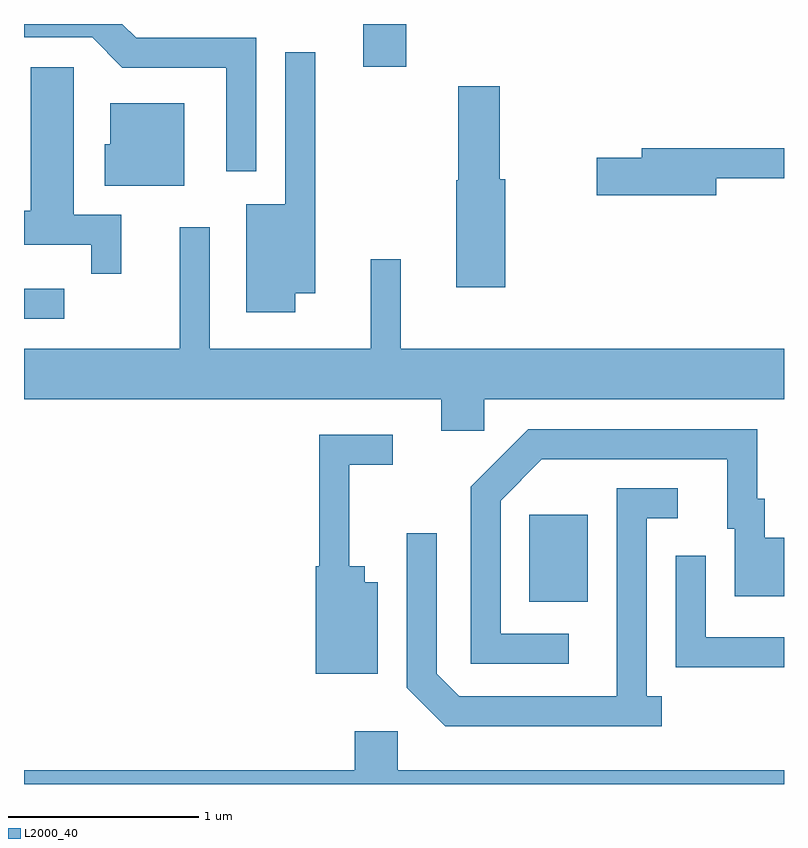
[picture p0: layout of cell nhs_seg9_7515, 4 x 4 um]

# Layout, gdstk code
import gdstk
lib = gdstk.Library(unit=1e-6, precision=1e-09)
def R(c, l, rs):  # rectangles x0, y0, x1, y1
    for r in rs: c.add(gdstk.rectangle(r[:2], r[2:], *l))
def P(c, l, *ps):  # polygons
    for p in ps: c.add(gdstk.Polygon(p, *l))
L2000_40 = (2000, 40)

nhs_seg9_7515 = lib.new_cell('nhs_seg9_7515')
R(nhs_seg9_7515, L2000_40, [(410.271,2017.391,410.579,2017.849), (407.611,2018.881,407.823,2019.039), (409.396,2020.206,409.624,2020.432)])
P(nhs_seg9_7515, L2000_40, [(408.834,2020.359),(408.202,2020.359),(408.129,2020.432),(407.611,2020.432),(407.611,2020.361),(407.969,2020.361),(408.129,2020.201),(408.676,2020.201),(408.676,2019.658),(408.834,2019.658)],
  [(409.039,2019.016),(409.144,2019.016),(409.144,2020.283),(408.986,2020.283),(408.986,2019.484),(408.781,2019.484),(408.781,2018.916),(409.039,2018.916)],
  [(408.124,2019.429),(407.874,2019.429),(407.874,2020.204),(407.646,2020.204),(407.646,2019.449),(407.611,2019.449),(407.611,2019.271),(407.966,2019.271),(407.966,2019.118),(408.124,2019.118)],
  [(410.144,2019.614),(410.114,2019.614),(410.114,2020.104),(409.896,2020.104),(409.896,2019.61),(409.886,2019.61),(409.886,2019.046),(410.144,2019.046)],
  [(408.454,2020.014),(408.066,2020.014),(408.066,2019.799),(408.036,2019.799),(408.036,2019.581),(408.454,2019.581)],
  [(411.254,2019.621),(411.611,2019.621),(411.611,2019.779),(410.861,2019.779),(410.861,2019.729),(410.626,2019.729),(410.626,2019.531),(411.254,2019.531)],
  [(410.034,2018.456),(411.611,2018.456),(411.611,2018.724),(409.594,2018.724),(409.594,2019.193),(409.436,2019.193),(409.436,2018.724),(408.589,2018.724),(408.589,2019.363),(408.431,2019.363),(408.431,2018.724),(407.611,2018.724),(407.611,2018.456),(409.806,2018.456),(409.806,2018.291),(410.034,2018.291)],
  [(410.478,2017.224),(410.119,2017.224),(410.119,2017.924),(410.337,2018.141),(411.311,2018.141),(411.311,2017.776),(411.351,2017.776),(411.351,2017.421),(411.611,2017.421),(411.611,2017.729),(411.509,2017.729),(411.509,2017.934),(411.469,2017.934),(411.469,2018.299),(410.264,2018.299),(409.961,2017.997),(409.961,2017.066),(410.478,2017.066)],
  [(409.474,2017.494),(409.404,2017.494),(409.404,2017.579),(409.324,2017.579),(409.324,2018.111),(409.553,2018.111),(409.553,2018.269),(409.166,2018.269),(409.166,2017.579),(409.146,2017.579),(409.146,2017.011),(409.474,2017.011)],
  [(410.968,2016.894),(410.889,2016.894),(410.889,2017.831),(411.053,2017.831),(411.053,2017.989),(410.731,2017.989),(410.731,2016.894),(409.902,2016.894),(409.784,2017.012),(409.784,2017.753),(409.626,2017.753),(409.626,2016.939),(409.829,2016.736),(410.968,2016.736)],
  [(411.611,2017.204),(411.199,2017.204),(411.199,2017.633),(411.041,2017.633),(411.041,2017.046),(411.611,2017.046)],
  [(411.611,2016.504),(409.579,2016.504),(409.579,2016.709),(409.351,2016.709),(409.351,2016.504),(407.611,2016.504),(407.611,2016.432),(411.611,2016.432)])

lib.write_gds('nhs_seg9_7515.gds')
